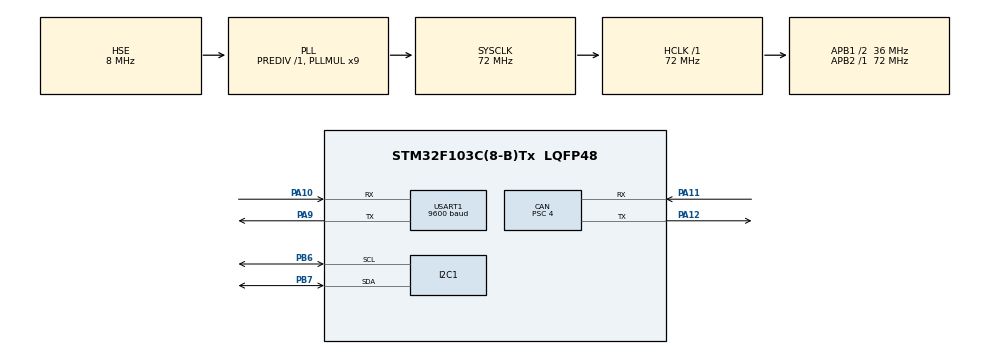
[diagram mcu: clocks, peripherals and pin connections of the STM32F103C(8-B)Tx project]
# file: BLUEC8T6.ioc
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CAN.BS1=CAN_BS1_15TQ
CAN.BS2=CAN_BS2_2TQ
CAN.CalculateBaudRate=500000
CAN.CalculateTimeBit=2000
CAN.CalculateTimeQuantum=111.11111111111111
CAN.Prescaler=4
Mcu.Family=STM32F1
Mcu.Name=STM32F103C(8-B)Tx
Mcu.Package=LQFP48
NVIC.PriorityGroup=NVIC_PRIORITYGROUP_4
PA10.Mode=Asynchronous
PA10.Signal=USART1_RX
PA11.Mode=CAN_Activate
PA11.Signal=CAN_RX
PA12.Mode=CAN_Activate
PA12.Signal=CAN_TX
PA13.Mode=Serial_Wire
PA13.Signal=SYS_JTMS-SWDIO
PA14.Mode=Serial_Wire
PA14.Signal=SYS_JTCK-SWCLK
PA9.Mode=Asynchronous
PA9.Signal=USART1_TX
PB6.Mode=I2C
PB6.Signal=I2C1_SCL
PB7.Mode=I2C
PB7.Signal=I2C1_SDA
PD0-OSC_IN.Mode=HSE-External-Oscillator
PD0-OSC_IN.Signal=RCC_OSC_IN
PD1-OSC_OUT.Mode=HSE-External-Oscillator
PD1-OSC_OUT.Signal=RCC_OSC_OUT
ProjectManager.HeapSize=0x200
ProjectManager.StackSize=0x400
ProjectManager.TargetToolchain=MDK-ARM V5
RCC.AHBFreq_Value=72000000
RCC.APB1CLKDivider=RCC_HCLK_DIV2
RCC.APB1Freq_Value=36000000
RCC.APB1TimFreq_Value=72000000
RCC.APB2Freq_Value=72000000
RCC.APB2TimFreq_Value=72000000
RCC.HCLKFreq_Value=72000000
RCC.PLLMUL=RCC_PLL_MUL9
RCC.PLLSourceVirtual=RCC_PLLSOURCE_HSE
RCC.SYSCLKFreq_VALUE=72000000
RCC.SYSCLKSource=RCC_SYSCLKSOURCE_PLLCLK
RCC.USBFreq_Value=72000000
USART1.BaudRate=9600
USART1.VirtualMode=VM_ASYNC
board=custom

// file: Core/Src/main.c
/* USER CODE BEGIN Header */
/**
  ******************************************************************************
  * @file           : main.c
  * @brief          : Main program body
  ******************************************************************************
  * @attention
  *
  * Copyright (c) 2026 STMicroelectronics.
  * All rights reserved.
  *
  * This software is licensed under terms that can be found in the LICENSE file
  * in the root directory of this software component.
  * If no LICENSE file comes with this software, it is provided AS-IS.
  *
  ******************************************************************************
  */
/* USER CODE END Header */
#include "main.h"
#include "can.h"
#include "i2c.h"
#include "usart.h"
#include "gpio.h"

/* USER CODE BEGIN Includes */
#include "stdio.h"
#include "my_can.h"
#include "oled.h"

/* USER CODE END Includes */

void SystemClock_Config(void);

/* USER CODE BEGIN 0 */
int fputc(int ch, FILE *f)
{
    HAL_UART_Transmit(&huart1, (uint8_t *)&ch, 1, 0xFFFF);
    return ch;
}

/* USER CODE END 0 */

int main(void)
{

  /* MCU Configuration--------------------------------------------------------*/

  /* Reset of all peripherals, Initializes the Flash interface and the Systick. */
  HAL_Init();

  /* Configure the system clock */
  SystemClock_Config();

  /* Initialize all configured peripherals */
  MX_GPIO_Init();
  MX_CAN_Init();
  MX_USART1_UART_Init();
  MX_I2C1_Init();
  /* USER CODE BEGIN 2 */
  MY_CAN_Init();
  OLED_Init();
  OLED_Clear();
  OLED_ShowString(0, 0, "C8T6 READY");
  /* USER CODE END 2 */

  /* Infinite loop */
  /* USER CODE BEGIN WHILE */
  char oled_buf[32];
  uint8_t page = 0;
  uint8_t last_page = 0xFF;
  uint32_t cnt_page = 0;
  uint32_t cnt_oled = 0;

  while (1)
  {
      MY_CAN_Poll();

      cnt_page++;
      if(cnt_page >= 300)
      {
          cnt_page = 0;
          page = (page + 1) % 3;
      }

      /* 每 100ms 刷一次 */
      cnt_oled++;
      if (cnt_oled >= 10)
{
          cnt_oled = 0;

        if (page != last_page)
        {
            OLED_Clear();
            last_page = page;
        }

      /* State 数字转字符串 */
      const char *state_str;
      switch (can_state)
      {
        case 0: state_str = "NORMAL"; break;
        case 1: state_str = "ACCEL";  break;
        case 2: state_str = "BRAKE";  break;
        case 3: state_str = "TURN";   break;
        default: state_str = "WAIT";  break;
      }

      sprintf(oled_buf, "%-8s", state_str);
      OLED_ShowString(0, 0, oled_buf);

      if (page == 0)
      {
        /* 第 1 页：Roll、Pitch */
        sprintf(oled_buf, "Roll:  %5.1f", can_roll);
        OLED_ShowString(0, 2, oled_buf);
        sprintf(oled_buf, "Pitch: %5.1f", can_pitch);
        OLED_ShowString(0, 4, oled_buf);
      }
      else if (page == 1)
      {
        /* 第 2 页：Temp、Humi */
        sprintf(oled_buf, "Temp: %5.1f C", can_temp);
        OLED_ShowString(0, 2, oled_buf);
        sprintf(oled_buf, "Humi: %5.1f %%", can_humi);
        OLED_ShowString(0, 4, oled_buf);
      }
      else
      {
        /* 第 3 页：Ax、Ay、Az */
        sprintf(oled_buf, "Ax: %6.2f g", can_ax);
        OLED_ShowString(0, 2, oled_buf);
        sprintf(oled_buf, "Ay: %6.2f g", can_ay);
        OLED_ShowString(0, 4, oled_buf);
        sprintf(oled_buf, "Az: %6.2f g", can_az);
        OLED_ShowString(0, 6, oled_buf);
      }
}
      HAL_Delay(10);
    /* USER CODE END WHILE */

  }
}

void SystemClock_Config(void)
{
  RCC_OscInitTypeDef RCC_OscInitStruct = {0};
  RCC_ClkInitTypeDef RCC_ClkInitStruct = {0};

  /** Initializes the RCC Oscillators according to the specified parameters
  * in the RCC_OscInitTypeDef structure.
  */
  RCC_OscInitStruct.OscillatorType = RCC_OSCILLATORTYPE_HSE;
  RCC_OscInitStruct.HSEState = RCC_HSE_ON;
  RCC_OscInitStruct.HSEPredivValue = RCC_HSE_PREDIV_DIV1;
  RCC_OscInitStruct.HSIState = RCC_HSI_ON;
  RCC_OscInitStruct.PLL.PLLState = RCC_PLL_ON;
  RCC_OscInitStruct.PLL.PLLSource = RCC_PLLSOURCE_HSE;
  RCC_OscInitStruct.PLL.PLLMUL = RCC_PLL_MUL9;
  if (HAL_RCC_OscConfig(&RCC_OscInitStruct) != HAL_OK)
  {
    Error_Handler();
  }

  /** Initializes the CPU, AHB and APB buses clocks
  */
  RCC_ClkInitStruct.ClockType = RCC_CLOCKTYPE_HCLK|RCC_CLOCKTYPE_SYSCLK
                              |RCC_CLOCKTYPE_PCLK1|RCC_CLOCKTYPE_PCLK2;
  RCC_ClkInitStruct.SYSCLKSource = RCC_SYSCLKSOURCE_PLLCLK;
  RCC_ClkInitStruct.AHBCLKDivider = RCC_SYSCLK_DIV1;
  RCC_ClkInitStruct.APB1CLKDivider = RCC_HCLK_DIV2;
  RCC_ClkInitStruct.APB2CLKDivider = RCC_HCLK_DIV1;

  if (HAL_RCC_ClockConfig(&RCC_ClkInitStruct, FLASH_LATENCY_2) != HAL_OK)
  {
    Error_Handler();
  }
}

void Error_Handler(void)
{
  __disable_irq();
  while (1)
  {
  }
}
